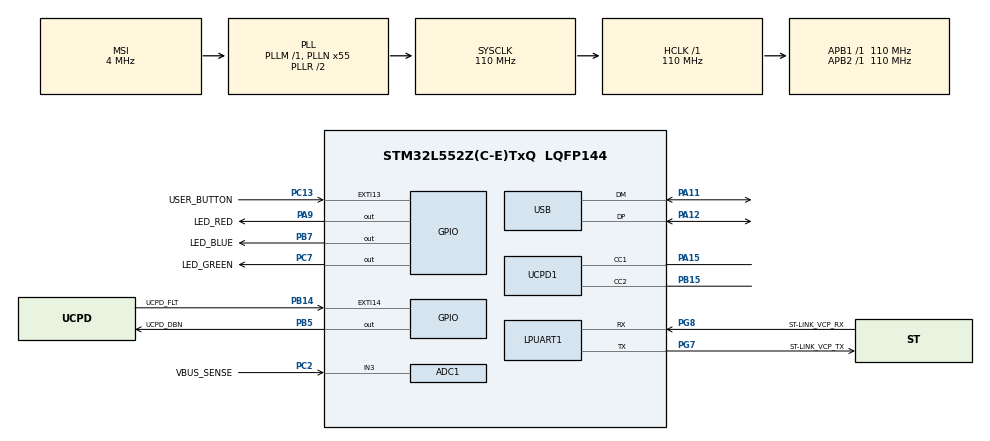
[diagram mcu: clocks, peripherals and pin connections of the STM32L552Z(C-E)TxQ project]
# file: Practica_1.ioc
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ADC1.Channel-0\#ChannelRegularConversion=ADC_CHANNEL_3
ADC1.NbrOfConversionFlag=1
ADC1.OffsetNumber-0\#ChannelRegularConversion=ADC_OFFSET_NONE
ADC1.Rank-0\#ChannelRegularConversion=1
ADC1.SamplingTime-0\#ChannelRegularConversion=ADC_SAMPLETIME_2CYCLES_5
ADC1.master=1
Mcu.Family=STM32L5
Mcu.Name=STM32L552Z(C-E)TxQ
Mcu.Package=LQFP144
Mcu.TrustZone=disable
NVIC.EXTI13_IRQn=true\:0\:0\:false\:false\:true\:true\:true\:true
NVIC.PriorityGroup=NVIC_PRIORITYGROUP_3
PA11.Mode=Device
PA11.Signal=USB_DM
PA12.Mode=Device
PA12.Signal=USB_DP
PA13\ (JTMS/SWDIO).Mode=Trace_Asynchronous_SW
PA13\ (JTMS/SWDIO).Signal=DEBUG_JTMS-SWDIO
PA14\ (JTCK/SWCLK).Mode=Trace_Asynchronous_SW
PA14\ (JTCK/SWCLK).Signal=DEBUG_JTCK-SWCLK
PA15\ (JTDI).Mode=Source_AllSignals
PA15\ (JTDI).Signal=UCPD1_CC1
PA9.GPIO_Label=LED_RED
PA9.Signal=GPIO_Output
PB14.GPIO_Label=UCPD_FLT
PB14.Signal=GPXTI14
PB15.Mode=Source_AllSignals
PB15.Signal=UCPD1_CC2
PB3\ (JTDO/TRACESWO).Mode=Trace_Asynchronous_SW
PB3\ (JTDO/TRACESWO).Signal=DEBUG_JTDO-SWO
PB5.GPIO_Label=UCPD_DBN
PB5.Signal=GPIO_Output
PB7.GPIO_Label=LED_BLUE
PB7.Signal=GPIO_Output
PC13.GPIO_Label=USER_BUTTON
PC13.GPIO_ModeDefaultEXTI=GPIO_MODE_IT_FALLING
PC13.Signal=GPXTI13
PC14-OSC32_IN\ (PC14).Mode=LSE-External-Oscillator
PC14-OSC32_IN\ (PC14).Signal=RCC_OSC32_IN
PC15-OSC32_OUT\ (PC15).Mode=LSE-External-Oscillator
PC15-OSC32_OUT\ (PC15).Signal=RCC_OSC32_OUT
PC2.GPIO_Label=VBUS_SENSE
PC2.Signal=ADCx_IN3
PC7.GPIO_Label=LED_GREEN
PC7.Signal=GPIO_Output
PG7.GPIO_Label=ST-LINK_VCP_TX
PG7.Mode=Asynchronous
PG7.Signal=LPUART1_TX
PG8.GPIO_Label=ST-LINK_VCP_RX
PG8.Mode=Asynchronous
PG8.Signal=LPUART1_RX
ProjectManager.HeapSize=0x200
ProjectManager.StackSize=0x400
ProjectManager.TargetToolchain=STM32CubeIDE
RCC.ADCCLockSelection=RCC_ADCCLKSOURCE_SYSCLK
RCC.ADCFreq_Value=110000000
RCC.AHBFreq_Value=110000000
RCC.APB1Freq_Value=110000000
RCC.APB1TimFreq_Value=110000000
RCC.APB2Freq_Value=110000000
RCC.APB2TimFreq_Value=110000000
RCC.CK48CLockSelection=RCC_USBCLKSOURCE_HSI48
RCC.CortexFreq_Value=110000000
RCC.HCLKFreq_Value=110000000
RCC.HSE_VALUE=8000000
RCC.HSI48_VALUE=48000000
RCC.HSI_VALUE=16000000
RCC.MSI_VALUE=4000000
RCC.PLLN=55
RCC.PLLSAI1N=24
RCC.RTCClockSelection=RCC_RTCCLKSOURCE_LSE
RCC.SYSCLKFreq_VALUE=110000000
RCC.SYSCLKSource=RCC_SYSCLKSOURCE_PLLCLK
RCC.USBFreq_Value=48000000
RCC.VCOOutputFreq_Value=220000000
SH.ADCx_IN3.0=ADC1_IN3,IN3-Single-Ended
VP_ICACHE_VS_ICACHE.Mode=DirectMappedCache
VP_PWR_VS_DBSignals.Mode=DisableDeadBatterySignals
VP_RTC_VS_RTC_Activate.Mode=RTC_Enabled
board=NUCLEO-L552ZE-Q

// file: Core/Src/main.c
/* USER CODE BEGIN Header */
/**
 ******************************************************************************
 * @file           : main.c
 * @brief          : Main program body
 ******************************************************************************
 * @attention
 *
 * Copyright (c) 2024 STMicroelectronics.
 * All rights reserved.
 *
 * This software is licensed under terms that can be found in the LICENSE file
 * in the root directory of this software component.
 * If no LICENSE file comes with this software, it is provided AS-IS.
 *
 ******************************************************************************
 */
/* USER CODE END Header */
#include "main.h"

ADC_HandleTypeDef hadc1;

UART_HandleTypeDef hlpuart1;

RTC_HandleTypeDef hrtc;

PCD_HandleTypeDef hpcd_USB_FS;

/* USER CODE BEGIN PV */
volatile int b1 = 0;
volatile int estado = 0;
/* USER CODE END PV */

void SystemClock_Config(void);
static void MX_GPIO_Init(void);
static void MX_ADC1_Init(void);
static void MX_ICACHE_Init(void);
static void MX_LPUART1_UART_Init(void);
static void MX_RTC_Init(void);
static void MX_UCPD1_Init(void);
static void MX_USB_PCD_Init(void);

int main(void)
{

  /* MCU Configuration--------------------------------------------------------*/

  /* Reset of all peripherals, Initializes the Flash interface and the Systick. */
  HAL_Init();

  /* Configure the system clock */
  SystemClock_Config();

  /* Initialize all configured peripherals */
  MX_GPIO_Init();
  MX_ADC1_Init();
  MX_ICACHE_Init();
  MX_LPUART1_UART_Init();
  MX_RTC_Init();
  MX_UCPD1_Init();
  MX_USB_PCD_Init();
  /* USER CODE BEGIN 2 */

	//EXTI13_IRQHandler_Config();
  /* USER CODE END 2 */

  /* Infinite loop */
  /* USER CODE BEGIN WHILE */
	while (1)
	{
		if(b1==1){
			if(estado==1){
				estado=0;
			}else{
				estado=1;
			}
			b1=0;
		}

		if(estado==1){
			HAL_GPIO_TogglePin(GPIOC, LED_GREEN_Pin);
			HAL_Delay(500);
		}else{
			HAL_GPIO_WritePin(LED_GREEN_GPIO_Port, LED_GREEN_Pin, GPIO_PIN_RESET);
		}

    /* USER CODE END WHILE */

	}
}

void SystemClock_Config(void)
{
  RCC_OscInitTypeDef RCC_OscInitStruct = {0};
  RCC_ClkInitTypeDef RCC_ClkInitStruct = {0};

  /** Configure the main internal regulator output voltage
  */
  if (HAL_PWREx_ControlVoltageScaling(PWR_REGULATOR_VOLTAGE_SCALE0) != HAL_OK)
  {
    Error_Handler();
  }

  /** Configure LSE Drive Capability
  */
  HAL_PWR_EnableBkUpAccess();
  __HAL_RCC_LSEDRIVE_CONFIG(RCC_LSEDRIVE_LOW);

  /** Initializes the RCC Oscillators according to the specified parameters
  * in the RCC_OscInitTypeDef structure.
  */
  RCC_OscInitStruct.OscillatorType = RCC_OSCILLATORTYPE_HSI48|RCC_OSCILLATORTYPE_LSE
                              |RCC_OSCILLATORTYPE_MSI;
  RCC_OscInitStruct.LSEState = RCC_LSE_ON;
  RCC_OscInitStruct.HSI48State = RCC_HSI48_ON;
  RCC_OscInitStruct.MSIState = RCC_MSI_ON;
  RCC_OscInitStruct.MSICalibrationValue = RCC_MSICALIBRATION_DEFAULT;
  RCC_OscInitStruct.MSIClockRange = RCC_MSIRANGE_6;
  RCC_OscInitStruct.PLL.PLLState = RCC_PLL_ON;
  RCC_OscInitStruct.PLL.PLLSource = RCC_PLLSOURCE_MSI;
  RCC_OscInitStruct.PLL.PLLM = 1;
  RCC_OscInitStruct.PLL.PLLN = 55;
  RCC_OscInitStruct.PLL.PLLP = RCC_PLLP_DIV7;
  RCC_OscInitStruct.PLL.PLLQ = RCC_PLLQ_DIV2;
  RCC_OscInitStruct.PLL.PLLR = RCC_PLLR_DIV2;
  if (HAL_RCC_OscConfig(&RCC_OscInitStruct) != HAL_OK)
  {
    Error_Handler();
  }

  /** Initializes the CPU, AHB and APB buses clocks
  */
  RCC_ClkInitStruct.ClockType = RCC_CLOCKTYPE_HCLK|RCC_CLOCKTYPE_SYSCLK
                              |RCC_CLOCKTYPE_PCLK1|RCC_CLOCKTYPE_PCLK2;
  RCC_ClkInitStruct.SYSCLKSource = RCC_SYSCLKSOURCE_PLLCLK;
  RCC_ClkInitStruct.AHBCLKDivider = RCC_SYSCLK_DIV1;
  RCC_ClkInitStruct.APB1CLKDivider = RCC_HCLK_DIV1;
  RCC_ClkInitStruct.APB2CLKDivider = RCC_HCLK_DIV1;

  if (HAL_RCC_ClockConfig(&RCC_ClkInitStruct, FLASH_LATENCY_5) != HAL_OK)
  {
    Error_Handler();
  }
}

static void MX_ADC1_Init(void)
{

  ADC_MultiModeTypeDef multimode = {0};
  ADC_ChannelConfTypeDef sConfig = {0};

  /** Common config
  */
  hadc1.Instance = ADC1;
  hadc1.Init.ClockPrescaler = ADC_CLOCK_ASYNC_DIV1;
  hadc1.Init.Resolution = ADC_RESOLUTION_12B;
  hadc1.Init.DataAlign = ADC_DATAALIGN_RIGHT;
  hadc1.Init.ScanConvMode = ADC_SCAN_DISABLE;
  hadc1.Init.EOCSelection = ADC_EOC_SINGLE_CONV;
  hadc1.Init.LowPowerAutoWait = DISABLE;
  hadc1.Init.ContinuousConvMode = DISABLE;
  hadc1.Init.NbrOfConversion = 1;
  hadc1.Init.DiscontinuousConvMode = DISABLE;
  hadc1.Init.ExternalTrigConv = ADC_SOFTWARE_START;
  hadc1.Init.ExternalTrigConvEdge = ADC_EXTERNALTRIGCONVEDGE_NONE;
  hadc1.Init.DMAContinuousRequests = DISABLE;
  hadc1.Init.Overrun = ADC_OVR_DATA_PRESERVED;
  hadc1.Init.OversamplingMode = DISABLE;
  if (HAL_ADC_Init(&hadc1) != HAL_OK)
  {
    Error_Handler();
  }

  /** Configure the ADC multi-mode
  */
  multimode.Mode = ADC_MODE_INDEPENDENT;
  if (HAL_ADCEx_MultiModeConfigChannel(&hadc1, &multimode) != HAL_OK)
  {
    Error_Handler();
  }

  /** Configure Regular Channel
  */
  sConfig.Channel = ADC_CHANNEL_3;
  sConfig.Rank = ADC_REGULAR_RANK_1;
  sConfig.SamplingTime = ADC_SAMPLETIME_2CYCLES_5;
  sConfig.SingleDiff = ADC_SINGLE_ENDED;
  sConfig.OffsetNumber = ADC_OFFSET_NONE;
  sConfig.Offset = 0;
  if (HAL_ADC_ConfigChannel(&hadc1, &sConfig) != HAL_OK)
  {
    Error_Handler();
  }

}

static void MX_ICACHE_Init(void)
{

  /** Enable instruction cache in 1-way (direct mapped cache)
  */
  if (HAL_ICACHE_ConfigAssociativityMode(ICACHE_1WAY) != HAL_OK)
  {
    Error_Handler();
  }
  if (HAL_ICACHE_Enable() != HAL_OK)
  {
    Error_Handler();
  }

}

static void MX_LPUART1_UART_Init(void)
{

  hlpuart1.Instance = LPUART1;
  hlpuart1.Init.BaudRate = 209700;
  hlpuart1.Init.WordLength = UART_WORDLENGTH_8B;
  hlpuart1.Init.StopBits = UART_STOPBITS_1;
  hlpuart1.Init.Parity = UART_PARITY_NONE;
  hlpuart1.Init.Mode = UART_MODE_TX_RX;
  hlpuart1.Init.HwFlowCtl = UART_HWCONTROL_NONE;
  hlpuart1.Init.OneBitSampling = UART_ONE_BIT_SAMPLE_DISABLE;
  hlpuart1.Init.ClockPrescaler = UART_PRESCALER_DIV1;
  hlpuart1.AdvancedInit.AdvFeatureInit = UART_ADVFEATURE_NO_INIT;
  hlpuart1.FifoMode = UART_FIFOMODE_DISABLE;
  if (HAL_UART_Init(&hlpuart1) != HAL_OK)
  {
    Error_Handler();
  }
  if (HAL_UARTEx_SetTxFifoThreshold(&hlpuart1, UART_TXFIFO_THRESHOLD_1_8) != HAL_OK)
  {
    Error_Handler();
  }
  if (HAL_UARTEx_SetRxFifoThreshold(&hlpuart1, UART_RXFIFO_THRESHOLD_1_8) != HAL_OK)
  {
    Error_Handler();
  }
  if (HAL_UARTEx_DisableFifoMode(&hlpuart1) != HAL_OK)
  {
    Error_Handler();
  }

}

static void MX_RTC_Init(void)
{

  RTC_PrivilegeStateTypeDef privilegeState = {0};

  /** Initialize RTC Only
  */
  hrtc.Instance = RTC;
  hrtc.Init.HourFormat = RTC_HOURFORMAT_24;
  hrtc.Init.AsynchPrediv = 127;
  hrtc.Init.SynchPrediv = 255;
  hrtc.Init.OutPut = RTC_OUTPUT_DISABLE;
  hrtc.Init.OutPutRemap = RTC_OUTPUT_REMAP_NONE;
  hrtc.Init.OutPutPolarity = RTC_OUTPUT_POLARITY_HIGH;
  hrtc.Init.OutPutType = RTC_OUTPUT_TYPE_OPENDRAIN;
  hrtc.Init.OutPutPullUp = RTC_OUTPUT_PULLUP_NONE;
  if (HAL_RTC_Init(&hrtc) != HAL_OK)
  {
    Error_Handler();
  }
  privilegeState.rtcPrivilegeFull = RTC_PRIVILEGE_FULL_NO;
  privilegeState.backupRegisterPrivZone = RTC_PRIVILEGE_BKUP_ZONE_NONE;
  privilegeState.backupRegisterStartZone2 = RTC_BKP_DR0;
  privilegeState.backupRegisterStartZone3 = RTC_BKP_DR0;
  if (HAL_RTCEx_PrivilegeModeSet(&hrtc, &privilegeState) != HAL_OK)
  {
    Error_Handler();
  }

}

static void MX_UCPD1_Init(void)
{

  LL_GPIO_InitTypeDef GPIO_InitStruct = {0};

  /* Peripheral clock enable */
  LL_APB1_GRP2_EnableClock(LL_APB1_GRP2_PERIPH_UCPD1);

  LL_AHB2_GRP1_EnableClock(LL_AHB2_GRP1_PERIPH_GPIOB);
  LL_AHB2_GRP1_EnableClock(LL_AHB2_GRP1_PERIPH_GPIOA);
  /**UCPD1 GPIO Configuration
  PB15   ------> UCPD1_CC2
  PA15 (JTDI)   ------> UCPD1_CC1
  */
  GPIO_InitStruct.Pin = LL_GPIO_PIN_15;
  GPIO_InitStruct.Mode = LL_GPIO_MODE_ANALOG;
  GPIO_InitStruct.Pull = LL_GPIO_PULL_NO;
  LL_GPIO_Init(GPIOB, &GPIO_InitStruct);

  GPIO_InitStruct.Pin = LL_GPIO_PIN_15;
  GPIO_InitStruct.Mode = LL_GPIO_MODE_ANALOG;
  GPIO_InitStruct.Pull = LL_GPIO_PULL_NO;
  LL_GPIO_Init(GPIOA, &GPIO_InitStruct);

}

static void MX_USB_PCD_Init(void)
{

  hpcd_USB_FS.Instance = USB;
  hpcd_USB_FS.Init.dev_endpoints = 8;
  hpcd_USB_FS.Init.speed = PCD_SPEED_FULL;
  hpcd_USB_FS.Init.phy_itface = PCD_PHY_EMBEDDED;
  hpcd_USB_FS.Init.Sof_enable = DISABLE;
  hpcd_USB_FS.Init.low_power_enable = DISABLE;
  hpcd_USB_FS.Init.lpm_enable = DISABLE;
  hpcd_USB_FS.Init.battery_charging_enable = DISABLE;
  if (HAL_PCD_Init(&hpcd_USB_FS) != HAL_OK)
  {
    Error_Handler();
  }

}

static void MX_GPIO_Init(void)
{
  GPIO_InitTypeDef GPIO_InitStruct = {0};

  /* GPIO Ports Clock Enable */
  __HAL_RCC_GPIOC_CLK_ENABLE();
  __HAL_RCC_GPIOB_CLK_ENABLE();
  __HAL_RCC_GPIOG_CLK_ENABLE();
  HAL_PWREx_EnableVddIO2();
  __HAL_RCC_GPIOA_CLK_ENABLE();

  /*Configure GPIO pin Output Level */
  HAL_GPIO_WritePin(LED_GREEN_GPIO_Port, LED_GREEN_Pin, GPIO_PIN_RESET);

  /*Configure GPIO pin Output Level */
  HAL_GPIO_WritePin(LED_RED_GPIO_Port, LED_RED_Pin, GPIO_PIN_RESET);

  /*Configure GPIO pin Output Level */
  HAL_GPIO_WritePin(GPIOB, UCPD_DBN_Pin|LED_BLUE_Pin, GPIO_PIN_RESET);

  /*Configure GPIO pin : USER_BUTTON_Pin */
  GPIO_InitStruct.Pin = USER_BUTTON_Pin;
  GPIO_InitStruct.Mode = GPIO_MODE_IT_FALLING;
  GPIO_InitStruct.Pull = GPIO_NOPULL;
  HAL_GPIO_Init(USER_BUTTON_GPIO_Port, &GPIO_InitStruct);

  /*Configure GPIO pin : UCPD_FLT_Pin */
  GPIO_InitStruct.Pin = UCPD_FLT_Pin;
  GPIO_InitStruct.Mode = GPIO_MODE_IT_RISING;
  GPIO_InitStruct.Pull = GPIO_NOPULL;
  HAL_GPIO_Init(UCPD_FLT_GPIO_Port, &GPIO_InitStruct);

  /*Configure GPIO pin : LED_GREEN_Pin */
  GPIO_InitStruct.Pin = LED_GREEN_Pin;
  GPIO_InitStruct.Mode = GPIO_MODE_OUTPUT_PP;
  GPIO_InitStruct.Pull = GPIO_NOPULL;
  GPIO_InitStruct.Speed = GPIO_SPEED_FREQ_LOW;
  HAL_GPIO_Init(LED_GREEN_GPIO_Port, &GPIO_InitStruct);

  /*Configure GPIO pin : LED_RED_Pin */
  GPIO_InitStruct.Pin = LED_RED_Pin;
  GPIO_InitStruct.Mode = GPIO_MODE_OUTPUT_PP;
  GPIO_InitStruct.Pull = GPIO_NOPULL;
  GPIO_InitStruct.Speed = GPIO_SPEED_FREQ_LOW;
  HAL_GPIO_Init(LED_RED_GPIO_Port, &GPIO_InitStruct);

  /*Configure GPIO pins : UCPD_DBN_Pin LED_BLUE_Pin */
  GPIO_InitStruct.Pin = UCPD_DBN_Pin|LED_BLUE_Pin;
  GPIO_InitStruct.Mode = GPIO_MODE_OUTPUT_PP;
  GPIO_InitStruct.Pull = GPIO_NOPULL;
  GPIO_InitStruct.Speed = GPIO_SPEED_FREQ_LOW;
  HAL_GPIO_Init(GPIOB, &GPIO_InitStruct);

  /* EXTI interrupt init*/
  HAL_NVIC_SetPriority(EXTI13_IRQn, 0, 0);
  HAL_NVIC_EnableIRQ(EXTI13_IRQn);

}

/* USER CODE BEGIN 4 */
void HAL_GPIO_EXTI_Falling_Callback(uint16_t GPIO_Pin)
{
	b1=1;
}
/* USER CODE END 4 */

void Error_Handler(void)
{
	__disable_irq();
	while (1)
	{
	}
}
